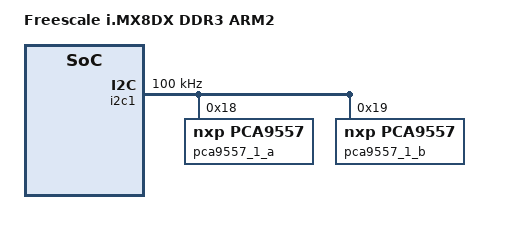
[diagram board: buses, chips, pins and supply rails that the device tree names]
/*
 * Copyright 2018 NXP
 *
 * This program is free software; you can redistribute it and/or
 * modify it under the terms of the GNU General Public License
 * as published by the Free Software Foundation; either version 2
 * of the License, or (at your option) any later version.
 *
 * This program is distributed in the hope that it will be useful,
 * but WITHOUT ANY WARRANTY; without even the implied warranty of
 * MERCHANTABILITY or FITNESS FOR A PARTICULAR PURPOSE.  See the
 * GNU General Public License for more details.
 */

#include "fsl-imx8qxp-lpddr4-arm2.dts"

/ {
	model = "Freescale i.MX8DX DDR3 ARM2";
};

&i2c1 {
	#address-cells = <1>;
	#size-cells = <0>;
	clock-frequency = <100000>;
	pinctrl-names = "default";
	pinctrl-0 = <&pinctrl_lpi2c1>;
	status = "okay";

	pca9557_1_a: gpio@18 {
		compatible = "nxp,pca9557";
		reg = <0x18>;
		gpio-controller;
		#gpio-cells = <2>;
	};

	pca9557_1_b: gpio@19 {
		compatible = "nxp,pca9557";
		reg = <0x19>;
		gpio-controller;
		#gpio-cells = <2>;
	};
};

&i2c3 {
	status = "disabled";
};

&usdhc2 {
	status = "disabled";
};

&usb2 {
	status = "disabled";
};
